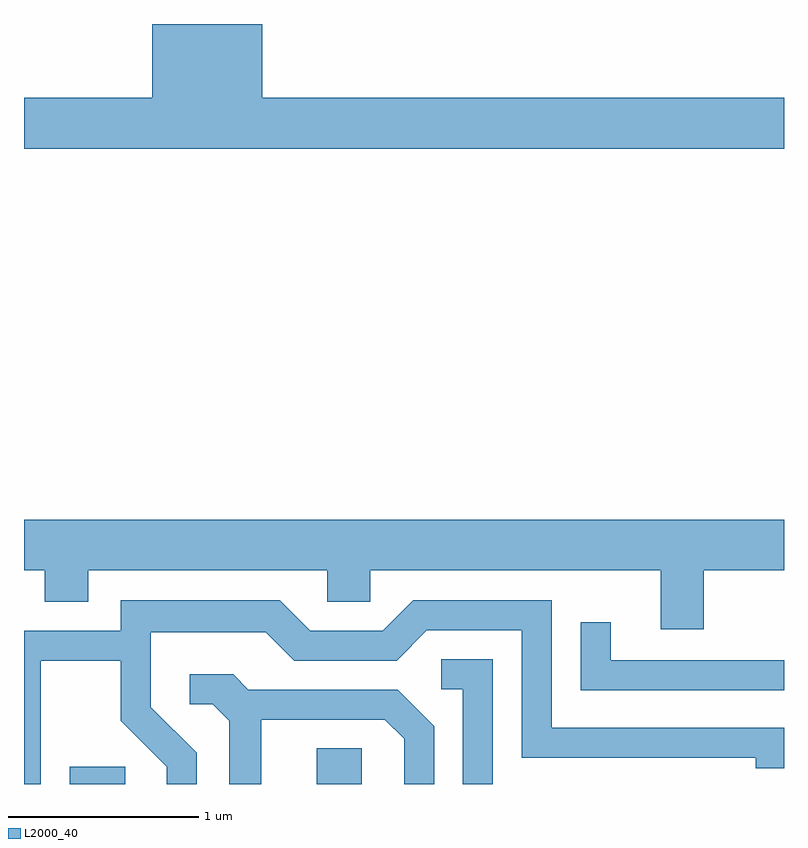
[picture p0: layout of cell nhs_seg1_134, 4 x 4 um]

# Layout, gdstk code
import gdstk
lib = gdstk.Library(unit=1e-6, precision=1e-09)
def R(c, l, rs):  # rectangles x0, y0, x1, y1
    for r in rs: c.add(gdstk.rectangle(r[:2], r[2:], *l))
def P(c, l, *ps):  # polygons
    for p in ps: c.add(gdstk.Polygon(p, *l))
L2000_40 = (2000, 40)

nhs_seg1_134 = lib.new_cell('nhs_seg1_134')
R(nhs_seg1_134, L2000_40, [(187.851,971.712,188.144,971.804), (189.151,971.712,189.389,971.899)])
P(nhs_seg1_134, L2000_40, [(191.611,975.324),(188.864,975.324),(188.864,975.712),(188.286,975.712),(188.286,975.324),(187.611,975.324),(187.611,975.056),(191.611,975.056)],
  [(191.189,972.836),(191.611,972.836),(191.611,973.104),(187.611,973.104),(187.611,972.836),(187.721,972.836),(187.721,972.671),(187.949,972.671),(187.949,972.836),(189.206,972.836),(189.206,972.671),(189.434,972.671),(189.434,972.836),(190.961,972.836),(190.961,972.526),(191.189,972.526)],
  [(187.699,972.361),(188.121,972.361),(188.121,972.044),(188.361,971.804),(188.361,971.712),(188.519,971.712),(188.519,971.877),(188.279,972.117),(188.279,972.511),(188.884,972.511),(189.034,972.361),(189.572,972.361),(189.732,972.521),(190.231,972.521),(190.231,971.851),(191.461,971.851),(191.461,971.796),(191.611,971.796),(191.611,972.009),(190.389,972.009),(190.389,972.679),(189.659,972.679),(189.499,972.519),(189.117,972.519),(188.957,972.679),(188.121,972.679),(188.121,972.519),(187.611,972.519),(187.611,971.712),(187.699,971.712)],
  [(191.611,972.364),(190.699,972.364),(190.699,972.563),(190.541,972.563),(190.541,972.206),(191.611,972.206)],
  [(190.079,972.369),(189.808,972.369),(189.808,972.211),(189.921,972.211),(189.921,971.712),(190.079,971.712)],
  [(188.859,972.051),(189.509,972.051),(189.611,971.949),(189.611,971.712),(189.769,971.712),(189.769,972.017),(189.577,972.209),(188.792,972.209),(188.712,972.289),(188.483,972.289),(188.483,972.131),(188.604,972.131),(188.691,972.044),(188.691,971.712),(188.859,971.712)])

lib.write_gds('nhs_seg1_134.gds')
